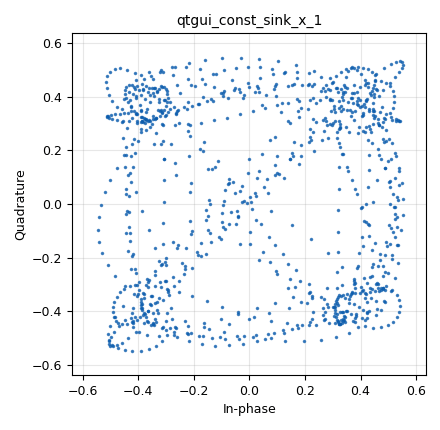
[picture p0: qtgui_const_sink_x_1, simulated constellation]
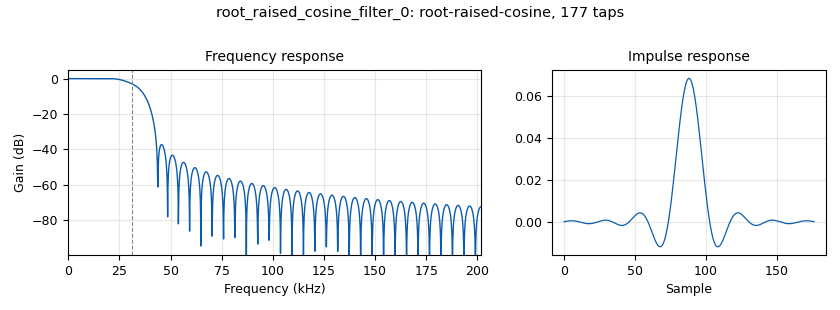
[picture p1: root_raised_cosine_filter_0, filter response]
options:
  parameters:
    author: aruncs
    generate_options: qt_gui
    id: communication_system
    output_language: python
    title: Communication System
  states: {}

blocks:
- name: bp_chunk
  id: variable
  parameters:
    value: '1'
  states: {}
- name: constellation
  id: variable_constellation
  parameters:
    const_points: '[-1-1j, -1+1j, 1+1j, 1-1j]'
    dims: '1'
    normalization: digital.constellation.AMPLITUDE_NORMALIZATION
    npwr: '0.2'
    precision: '8'
    rot_sym: '4'
    sym_map: '[0, 1, 3, 2]'
    type: calcdist
  states: {}
- name: exces_bw
  id: variable
  parameters:
    value: '.350'
  states: {}
- name: fc
  id: variable_qtgui_range
  parameters:
    start: int(1e9)
    step: 100e6
    stop: int(6e9)
    value: int(5.1e9)
    widget: eng_slider
  states: {state: disabled}
- name: fc
  id: variable
  parameters:
    value: int(5.1e9)
  states: {}
- name: offset
  id: variable_qtgui_range
  parameters:
    start: '-1*int(20e3)'
    step: '1'
    stop: int(20e3)
    value: '0'
  states: {}
- name: rx_gain
  id: variable_qtgui_range
  parameters:
    start: '0'
    step: '1'
    stop: '100'
    value: '10'
  states: {}
- name: samp_rate
  id: variable
  parameters:
    value: int(1e6)
  states: {}
- name: sps
  id: variable
  parameters:
    value: '16'
  states: {}
- name: tx_gain
  id: variable_qtgui_range
  parameters:
    label: Tx Gain
    start: '.1'
    step: '.1'
    stop: '1'
    value: '.50'
    widget: counter
  states: {}
- name: analog_agc_xx_0
  id: analog_agc_xx
  parameters:
    gain: '1.0'
    max_gain: '65536'
    rate: '1e-4'
    reference: '1.0'
    type: complex
  states: {}
- name: analog_random_uniform_source_x_0
  id: analog_random_uniform_source_x
  parameters:
    maximum: '2'
    minimum: '0'
    seed: '0'
    type: byte
  states: {}
- name: analog_sig_source_x_0
  id: analog_sig_source_x
  parameters:
    amp: '1'
    freq: '0'
    offset: offset
    phase: '0'
    samp_rate: samp_rate
    type: complex
    waveform: analog.GR_COS_WAVE
  states: {}
- name: blocks_char_to_float_0
  id: blocks_char_to_float
  parameters:
    scale: '1'
  states: {state: disabled}
- name: blocks_char_to_float_0_0
  id: blocks_char_to_float
  parameters:
    scale: '1'
  states: {state: disabled}
- name: blocks_complex_to_real_0
  id: blocks_complex_to_real
  parameters: {}
  states: {}
- name: blocks_complex_to_real_1
  id: blocks_complex_to_real
  parameters: {}
  states: {}
- name: blocks_int_to_float_0
  id: blocks_int_to_float
  parameters:
    scale: '1'
  states: {state: disabled}
- name: blocks_interleaved_char_to_complex_0
  id: blocks_interleaved_char_to_complex
  parameters:
    scale_factor: '1.0'
    vector_input: 'False'
  states: {}
- name: blocks_interleaved_char_to_complex_1
  id: blocks_interleaved_char_to_complex
  parameters:
    scale_factor: '1.0'
    vector_input: 'False'
  states: {}
- name: blocks_multiply_const_vxx_0
  id: blocks_multiply_const_vxx
  parameters:
    const: tx_gain
    type: complex
  states: {}
- name: blocks_multiply_xx_0
  id: blocks_multiply_xx
  parameters:
    type: complex
  states: {}
- name: blocks_packed_to_unpacked_xx_0
  id: blocks_packed_to_unpacked_xx
  parameters:
    bits_per_chunk: bp_chunk
    endianness: gr.GR_MSB_FIRST
    type: byte
  states: {}
- name: blocks_unpacked_to_packed_xx_0
  id: blocks_unpacked_to_packed_xx
  parameters:
    bits_per_chunk: bp_chunk
    endianness: gr.GR_MSB_FIRST
    type: byte
  states: {}
- name: digital_constellation_decoder_cb_0
  id: digital_constellation_decoder_cb
  parameters:
    constellation: constellation
  states: {}
- name: digital_constellation_modulator_0
  id: digital_constellation_modulator
  parameters:
    constellation: constellation
    differential: 'False'
    excess_bw: exces_bw
    samples_per_symbol: sps
  states: {}
- name: digital_map_bb_0
  id: digital_map_bb
  parameters:
    map: '[0,1,3,2]'
  states: {}
- name: iio_pluto_sink_0
  id: iio_pluto_sink
  parameters:
    attenuation1: '10.0'
    bandwidth: '20000000'
    buffer_size: '32768'
    cyclic: 'False'
    filter_source: '''Auto'''
    frequency: fc
    samplerate: samp_rate
    type: fc32
    uri: 192.168.2.1
  states: {}
- name: iio_pluto_source_0
  id: iio_pluto_source
  parameters:
    bandwidth: '20000000'
    bbdc: 'True'
    buffer_size: '32768'
    filter_source: '''Auto'''
    frequency: fc
    gain1: '''fast_attack'''
    quadrature: 'True'
    rfdc: 'True'
    samplerate: samp_rate
    type: fc32
    uri: 192.168.2.1
  states: {}
- name: qtgui_const_sink_x_0
  id: qtgui_const_sink_x
  parameters:
    autoscale: 'True'
    label1: Tx
    label2: Rx
    nconnections: '2'
    size: '1024'
    type: complex
  states: {}
- name: qtgui_const_sink_x_1
  id: qtgui_const_sink_x
  parameters:
    autoscale: 'True'
    size: '1024'
    type: complex
  states: {}
- name: qtgui_eye_sink_x_0
  id: qtgui_eye_sink_x
  parameters:
    autoscale: 'True'
    grid: 'True'
    label1: For rx AGC Real
    label2: for rx AGC Img
    samp_per_symbol: sps
    size: '1024'
    srate: samp_rate
    type: complex
    yunit: Rx
  states: {}
- name: qtgui_freq_sink_x_0
  id: qtgui_freq_sink_x
  parameters:
    autoscale: 'True'
    bw: samp_rate
    fc: fc
    fftsize: '1024'
    label1: Tx
    label2: Rx from Pluto
    nconnections: '2'
    type: complex
  states: {}
- name: qtgui_freq_sink_x_1
  id: qtgui_freq_sink_x
  parameters:
    autoscale: 'True'
    bw: samp_rate
    fc: '0'
    fftsize: '1024'
    label1: Rx From  Pluto
    label2: 'Rx From  Pluto + AGC '
    nconnections: '2'
    type: complex
  states: {}
- name: qtgui_time_sink_x_0
  id: qtgui_time_sink_x
  parameters:
    autoscale: 'True'
    size: '1024'
    srate: samp_rate
    type: float
  states: {state: disabled}
- name: qtgui_time_sink_x_1
  id: qtgui_time_sink_x
  parameters:
    autoscale: 'True'
    color2: magenta
    color3: blue
    label1: Transmitted Signal
    label2: Transmitted Signal
    label3: Received from Pluto
    label4: Received from Pluto
    name: Transmitted Signal
    nconnections: '2'
    size: '1024'
    srate: samp_rate
    type: complex
  states: {}
- name: qtgui_time_sink_x_2
  id: qtgui_time_sink_x
  parameters:
    autoscale: 'True'
    name: After RRC Filter
    size: '1024'
    srate: samp_rate
    type: complex
  states: {}
- name: qtgui_time_sink_x_3
  id: qtgui_time_sink_x
  parameters:
    autoscale: 'True'
    label1: Original
    label2: Decoded
    name: Original Vs Decoded Signal
    nconnections: '2'
    size: '1024'
    srate: samp_rate
    type: float
  states: {}
- name: root_raised_cosine_filter_0
  id: root_raised_cosine_filter
  parameters:
    alpha: exces_bw
    decim: '1'
    gain: '1'
    ntaps: 11*sps
    samp_rate: samp_rate
    sym_rate: 62.5e3
    type: fir_filter_ccf
  states: {}
- name: rtlsdr_source_0
  id: rtlsdr_source
  parameters:
    bb_gain0: '20'
    freq0: fc
    gain0: rx_gain
    gain_mode0: 'False'
    if_gain0: '20'
    sample_rate: samp_rate
    sync: pc_clock
    type: fc32
  states: {state: disabled}
- name: virtual_sink_0
  id: virtual_sink
  parameters:
    stream_id: bandpass
  states: {}
- name: virtual_sink_1
  id: virtual_sink
  parameters:
    stream_id: rx
  states: {}
- name: virtual_sink_2
  id: virtual_sink
  parameters:
    stream_id: rx2
  states: {}
- name: virtual_sink_3
  id: virtual_sink
  parameters:
    stream_id: decoded_snl
  states: {}
- name: virtual_sink_4
  id: virtual_sink
  parameters:
    stream_id: original
  states: {}
- name: virtual_sink_5
  id: virtual_sink
  parameters:
    stream_id: rx3
  states: {}
- name: virtual_source_0
  id: virtual_source
  parameters:
    stream_id: bandpass
  states: {}
- name: virtual_source_0_0
  id: virtual_source
  parameters:
    stream_id: bandpass
  states: {}
- name: virtual_source_1
  id: virtual_source
  parameters:
    stream_id: rx
  states: {}
- name: virtual_source_1_0
  id: virtual_source
  parameters:
    stream_id: rx
  states: {}
- name: virtual_source_2
  id: virtual_source
  parameters:
    stream_id: rx2
  states: {}
- name: virtual_source_3
  id: virtual_source
  parameters:
    stream_id: rx
  states: {}
- name: virtual_source_4
  id: virtual_source
  parameters:
    stream_id: rx3
  states: {}
- name: virtual_source_5
  id: virtual_source
  parameters:
    stream_id: decoded_snl
  states: {}
- name: virtual_source_6
  id: virtual_source
  parameters:
    stream_id: original
  states: {}

connections:
- [analog_agc_xx_0, '0', virtual_sink_2, '0']
- [analog_random_uniform_source_x_0, '0', blocks_char_to_float_0, '0']
- [analog_random_uniform_source_x_0, '0', blocks_int_to_float_0, '0']
- [analog_random_uniform_source_x_0, '0', blocks_interleaved_char_to_complex_1, '0']
- [analog_random_uniform_source_x_0, '0', blocks_unpacked_to_packed_xx_0, '0']
- [analog_sig_source_x_0, '0', blocks_multiply_xx_0, '1']
- [blocks_char_to_float_0, '0', qtgui_time_sink_x_0, '0']
- [blocks_char_to_float_0_0, '0', qtgui_time_sink_x_0, '0']
- [blocks_complex_to_real_0, '0', qtgui_time_sink_x_3, '0']
- [blocks_complex_to_real_1, '0', qtgui_time_sink_x_3, '1']
- [blocks_int_to_float_0, '0', qtgui_time_sink_x_0, '0']
- [blocks_interleaved_char_to_complex_0, '0', virtual_sink_3, '0']
- [blocks_interleaved_char_to_complex_1, '0', virtual_sink_4, '0']
- [blocks_multiply_const_vxx_0, '0', qtgui_const_sink_x_1, '0']
- [blocks_multiply_const_vxx_0, '0', virtual_sink_0, '0']
- [blocks_multiply_xx_0, '0', analog_agc_xx_0, '0']
- [blocks_packed_to_unpacked_xx_0, '0', blocks_interleaved_char_to_complex_0, '0']
- [blocks_unpacked_to_packed_xx_0, '0', blocks_char_to_float_0_0, '0']
- [blocks_unpacked_to_packed_xx_0, '0', digital_constellation_modulator_0, '0']
- [digital_constellation_decoder_cb_0, '0', digital_map_bb_0, '0']
- [digital_constellation_modulator_0, '0', blocks_multiply_const_vxx_0, '0']
- [digital_map_bb_0, '0', blocks_packed_to_unpacked_xx_0, '0']
- [iio_pluto_source_0, '0', virtual_sink_1, '0']
- [root_raised_cosine_filter_0, '0', qtgui_eye_sink_x_0, '0']
- [root_raised_cosine_filter_0, '0', qtgui_time_sink_x_2, '0']
- [root_raised_cosine_filter_0, '0', virtual_sink_5, '0']
- [rtlsdr_source_0, '0', virtual_sink_1, '0']
- [virtual_source_0, '0', qtgui_const_sink_x_0, '0']
- [virtual_source_0, '0', qtgui_freq_sink_x_0, '0']
- [virtual_source_0, '0', qtgui_time_sink_x_1, '0']
- [virtual_source_0_0, '0', iio_pluto_sink_0, '0']
- [virtual_source_1, '0', qtgui_const_sink_x_0, '1']
- [virtual_source_1, '0', qtgui_freq_sink_x_0, '1']
- [virtual_source_1, '0', qtgui_time_sink_x_1, '1']
- [virtual_source_1_0, '0', qtgui_freq_sink_x_1, '0']
- [virtual_source_2, '0', qtgui_freq_sink_x_1, '1']
- [virtual_source_2, '0', root_raised_cosine_filter_0, '0']
- [virtual_source_3, '0', blocks_multiply_xx_0, '0']
- [virtual_source_4, '0', digital_constellation_decoder_cb_0, '0']
- [virtual_source_5, '0', blocks_complex_to_real_1, '0']
- [virtual_source_6, '0', blocks_complex_to_real_0, '0']

metadata:
  file_format: 1
  grc_version: 3.10.11.0
